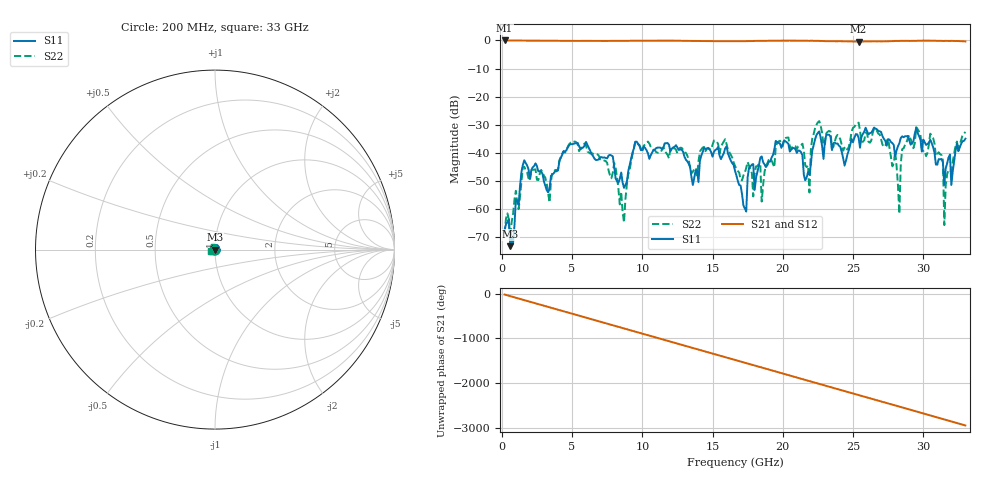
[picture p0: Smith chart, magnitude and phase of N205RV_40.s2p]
# GHZ S RI R 50
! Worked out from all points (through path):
!   329 points, 200 MHz to 33 GHz, reference 50 ohm
!   highest |S21| = -0.01 dB at 200 MHz (marker M1); lowest = -0.4 dB at 25.4 GHz (marker M2)
!   group delay of S21, straight-line fit = 248 ps
!   lowest |S11| = -73.2 dB at 600 MHz (marker M3), VSWR 1.00, Z = 50 + j0.0214 ohm
!   |S11| at or under -10 dB: start of sweep to end of sweep
!   |S22| runs from -70.9 to -28.7 dB; largest |S21 - S12| = 0.0019
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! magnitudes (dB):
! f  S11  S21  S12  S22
! 200 MHz  -67.4  0.0  0.0  -68.9
! 600 MHz  -73.2  0.0  0.0  -70.9
! 1.6 GHz  -42.7  0.0  0.0  -44.9
! 3.4 GHz  -52.6  -0.1  -0.1  -57.7
! 5.7 GHz  -38.4  -0.2  -0.2  -37.8
! 8.7 GHz  -52.5  -0.1  -0.1  -64.7
! 9.5 GHz  -36.1  -0.1  -0.1  -36.1
! 11.2 GHz  -38.1  -0.1  -0.1  -40.1
! 16.6 GHz  -46.4  -0.3  -0.3  -44.7
! 17.4 GHz  -60.9  -0.3  -0.3  -45.3
! 18.5 GHz  -41.3  -0.1  -0.1  -57.3
! 20.4 GHz  -36.8  0.0  0.0  -34.6
! 21.9 GHz  -47.7  -0.1  -0.1  -54.1
! 22.1 GHz  -39.2  -0.1  -0.1  -35.0
! 25.4 GHz  -34.7  -0.4  -0.4  -29.2
! 27.6 GHz  -35.3  -0.3  -0.3  -38.4
! 28.3 GHz  -36.6  -0.2  -0.2  -61.7
! 28.5 GHz  -34.1  -0.2  -0.2  -38.7
! 30.5 GHz  -35.4  -0.1  -0.1  -33.2
! 31.4 GHz  -43.5  -0.2  -0.2  -42.6
! 31.5 GHz  -51.4  -0.2  -0.2  -65.7
! 33 GHz  -35.0  -0.4  -0.4  -32.6
